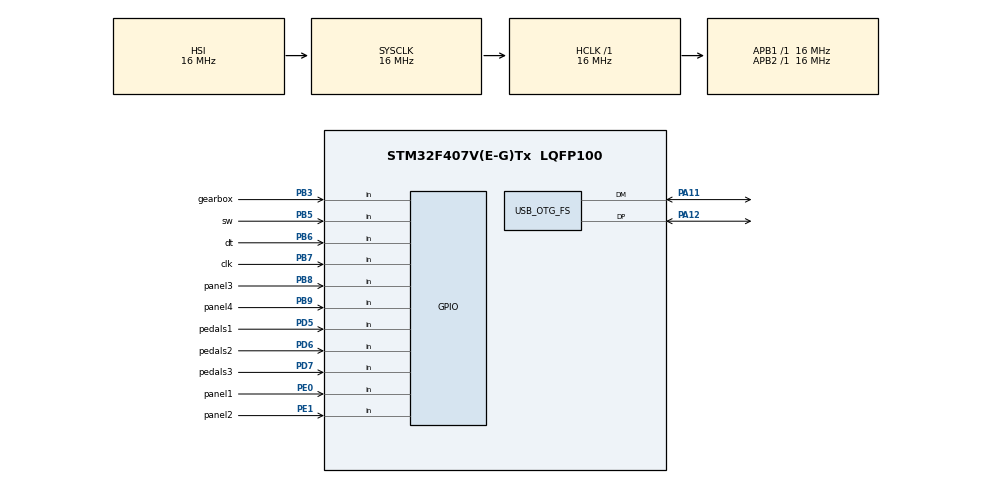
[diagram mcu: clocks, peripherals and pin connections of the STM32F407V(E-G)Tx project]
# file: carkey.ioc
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Mcu.Family=STM32F4
Mcu.Name=STM32F407V(E-G)Tx
Mcu.Package=LQFP100
NVIC.OTG_FS_IRQn=true\:0\:0\:false\:false\:true\:false\:true\:true
NVIC.PriorityGroup=NVIC_PRIORITYGROUP_4
PA11.Mode=Device_Only
PA11.Signal=USB_OTG_FS_DM
PA12.Mode=Device_Only
PA12.Signal=USB_OTG_FS_DP
PB3.GPIO_Label=gearbox
PB3.GPIO_PuPd=GPIO_PULLUP
PB3.Signal=GPIO_Input
PB5.GPIO_Label=sw
PB5.GPIO_PuPd=GPIO_PULLUP
PB5.Signal=GPIO_Input
PB6.GPIO_Label=dt
PB6.GPIO_PuPd=GPIO_PULLUP
PB6.Signal=GPIO_Input
PB7.GPIO_Label=clk
PB7.GPIO_PuPd=GPIO_PULLUP
PB7.Signal=GPIO_Input
PB8.GPIO_Label=panel3
PB8.GPIO_PuPd=GPIO_PULLUP
PB8.Signal=GPIO_Input
PB9.GPIO_Label=panel4
PB9.GPIO_PuPd=GPIO_PULLUP
PB9.Signal=GPIO_Input
PC14-OSC32_IN.Mode=LSE-External-Oscillator
PC14-OSC32_IN.Signal=RCC_OSC32_IN
PC15-OSC32_OUT.Mode=LSE-External-Oscillator
PC15-OSC32_OUT.Signal=RCC_OSC32_OUT
PD5.GPIO_Label=pedals1
PD5.GPIO_PuPd=GPIO_PULLUP
PD5.Signal=GPIO_Input
PD6.GPIO_Label=pedals2
PD6.GPIO_PuPd=GPIO_PULLUP
PD6.Signal=GPIO_Input
PD7.GPIO_Label=pedals3
PD7.GPIO_PuPd=GPIO_PULLUP
PD7.Signal=GPIO_Input
PE0.GPIO_Label=panel1
PE0.GPIO_PuPd=GPIO_PULLUP
PE0.Signal=GPIO_Input
PE1.GPIO_Label=panel2
PE1.GPIO_PuPd=GPIO_PULLUP
PE1.Signal=GPIO_Input
PH0-OSC_IN.Mode=HSE-External-Oscillator
PH0-OSC_IN.Signal=RCC_OSC_IN
PH1-OSC_OUT.Mode=HSE-External-Oscillator
PH1-OSC_OUT.Signal=RCC_OSC_OUT
ProjectManager.HeapSize=0x200
ProjectManager.StackSize=0x400
ProjectManager.TargetToolchain=STM32CubeIDE
RCC.48MHZClocksFreq_Value=48000000
RCC.AHBFreq_Value=16000000
RCC.APB1Freq_Value=16000000
RCC.APB2Freq_Value=16000000
RCC.CortexFreq_Value=16000000
RCC.HSE_VALUE=8000000
RCC.HSI_VALUE=16000000
RCC.PLLM=4
RCC.PLLN=72
RCC.PLLQ=3
RCC.SYSCLKFreq_VALUE=16000000
RCC.VCOOutputFreq_Value=144000000
USB_DEVICE.CLASS_NAME_FS=HID
USB_DEVICE.PRODUCT_STRING_HID_FS=Volan
USB_DEVICE.VirtualMode-HID_FS=Hid
USB_DEVICE.VirtualModeFS=Hid_FS
USB_OTG_FS.VirtualMode=Device_Only
VP_USB_DEVICE_VS_USB_DEVICE_HID_FS.Mode=HID_FS
board=custom

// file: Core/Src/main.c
/* USER CODE BEGIN Header */
/**
  ******************************************************************************
  * @file           : main.c
  * @brief          : Main program body
  ******************************************************************************
  * @attention
  *
  * Copyright (c) 2023 STMicroelectronics.
  * All rights reserved.
  *
  * This software is licensed under terms that can be found in the LICENSE file
  * in the root directory of this software component.
  * If no LICENSE file comes with this software, it is provided AS-IS.
  *
  ******************************************************************************
  */
/* USER CODE END Header */
#include "main.h"
#include "usb_device.h"

/* USER CODE BEGIN PM */

#define bool uint8_t
#define true 1
#define false 0

/* USER CODE END PM */

void SystemClock_Config(void);
static void MX_GPIO_Init(void);

/* USER CODE BEGIN 0 */

extern USBD_HandleTypeDef hUsbDeviceFS;

typedef struct
{
	uint8_t MODIFIER;
	uint8_t RESERVED;
	uint8_t KEYCODE1;
	uint8_t KEYCODE2;
	uint8_t KEYCODE3;
	uint8_t KEYCODE4;
	uint8_t KEYCODE5;
	uint8_t KEYCODE6;
} keyboardHID;

keyboardHID keyboardhid = {0,0,0,0,0,0,0,0};

/* USER CODE END 0 */

int main(void)
{

  /* MCU Configuration--------------------------------------------------------*/

  /* Reset of all peripherals, Initializes the Flash interface and the Systick. */
  HAL_Init();

  /* Configure the system clock */
  SystemClock_Config();

  /* Initialize all configured peripherals */
  MX_GPIO_Init();
  MX_USB_DEVICE_Init();

  /* Infinite loop */
  /* USER CODE BEGIN WHILE */
  // 0x04 = a, 0x05 = b ...
  int aLastState  = HAL_GPIO_ReadPin(GPIOB, GPIO_PIN_7);
  int aState  = 0;
  int oldg = HAL_GPIO_ReadPin(GPIOB, GPIO_PIN_3);
  bool blocked = false;
  bool light = false;
  bool llight = false;
  bool pov = false;
  bool lpov = false;
  bool lr = false;
  bool llr = false;
  bool lav = false;
  bool llav = false;
  while (1){
	  //keyboardhid.KEYCODE1 = 0;
	  keyboardhid.KEYCODE1 = 17;
	  aState  = HAL_GPIO_ReadPin(GPIOB, GPIO_PIN_7);
	  if (aState != aLastState){
	      if (HAL_GPIO_ReadPin(GPIOB, GPIO_PIN_6) != aState) {
	    	  keyboardhid.KEYCODE1 = 4;
	      } else {
	    	  keyboardhid.KEYCODE1 = 7;
	      }
	  }
	  aLastState = aState;
	  if(HAL_GPIO_ReadPin(GPIOD, GPIO_PIN_5) == GPIO_PIN_RESET && HAL_GPIO_ReadPin(GPIOB, GPIO_PIN_3) == GPIO_PIN_RESET ){
		  keyboardhid.KEYCODE1 = 26;
	  }
	  else if(HAL_GPIO_ReadPin(GPIOD, GPIO_PIN_5) == GPIO_PIN_RESET && HAL_GPIO_ReadPin(GPIOB, GPIO_PIN_3) == GPIO_PIN_SET ){
		  keyboardhid.KEYCODE1 = 22;
	  }
	  if(HAL_GPIO_ReadPin(GPIOD, GPIO_PIN_6) == GPIO_PIN_RESET){
		  keyboardhid.KEYCODE1 = 5;
	  }
	  if(oldg != HAL_GPIO_ReadPin(GPIOB, GPIO_PIN_3) && HAL_GPIO_ReadPin(GPIOD, GPIO_PIN_7) == GPIO_PIN_RESET && blocked == 0){
		  oldg = HAL_GPIO_ReadPin(GPIOB, GPIO_PIN_3);
	  }else if(oldg != HAL_GPIO_ReadPin(GPIOB, GPIO_PIN_3) && HAL_GPIO_ReadPin(GPIOD, GPIO_PIN_7) == GPIO_PIN_SET){
		  blocked = 1;
	  }
	  if(blocked){
		  keyboardhid.KEYCODE1 = 17;
	  }
	  light = HAL_GPIO_ReadPin(GPIOE, GPIO_PIN_0);
	  if(llight != light){
		  keyboardhid.KEYCODE1 = 9;
		  llight = light;
	  }
	  pov = HAL_GPIO_ReadPin(GPIOE, GPIO_PIN_1);
	  if(lpov != pov){
		  switch(llr){
		  	case true:
		  		keyboardhid.KEYCODE1 = 20;
		  		break;
		  	case false:
		  		keyboardhid.KEYCODE1 = 8;
		  		break;
		  }
		  lpov = pov;
	  }
	  lr = HAL_GPIO_ReadPin(GPIOB, GPIO_PIN_8);
	  if(llr != lr){
		  if(lpov == false){
			 switch(lr){
			 case true:
			  	  keyboardhid.KEYCODE1 = 20;
			  	  break;
			  case false:
			  	  keyboardhid.KEYCODE1 = 8;
				  break;
			  }
		  }
		  llr = lr;
	  }
	  lav = HAL_GPIO_ReadPin(GPIOB, GPIO_PIN_9);
	  if(llav != lav){
	  	 keyboardhid.KEYCODE1 = 12;
	  	 llav = lav;
	  }
	  USBD_HID_SendReport(&hUsbDeviceFS, &keyboardhid, sizeof (keyboardhid));
	  HAL_Delay(10);
    /* USER CODE END WHILE */

  }
}

void SystemClock_Config(void)
{
  RCC_OscInitTypeDef RCC_OscInitStruct = {0};
  RCC_ClkInitTypeDef RCC_ClkInitStruct = {0};

  /** Configure the main internal regulator output voltage
  */
  __HAL_RCC_PWR_CLK_ENABLE();
  __HAL_PWR_VOLTAGESCALING_CONFIG(PWR_REGULATOR_VOLTAGE_SCALE1);

  /** Initializes the RCC Oscillators according to the specified parameters
  * in the RCC_OscInitTypeDef structure.
  */
  RCC_OscInitStruct.OscillatorType = RCC_OSCILLATORTYPE_HSI|RCC_OSCILLATORTYPE_HSE;
  RCC_OscInitStruct.HSEState = RCC_HSE_ON;
  RCC_OscInitStruct.HSIState = RCC_HSI_ON;
  RCC_OscInitStruct.HSICalibrationValue = RCC_HSICALIBRATION_DEFAULT;
  RCC_OscInitStruct.PLL.PLLState = RCC_PLL_ON;
  RCC_OscInitStruct.PLL.PLLSource = RCC_PLLSOURCE_HSE;
  RCC_OscInitStruct.PLL.PLLM = 4;
  RCC_OscInitStruct.PLL.PLLN = 72;
  RCC_OscInitStruct.PLL.PLLP = RCC_PLLP_DIV2;
  RCC_OscInitStruct.PLL.PLLQ = 3;
  if (HAL_RCC_OscConfig(&RCC_OscInitStruct) != HAL_OK)
  {
    Error_Handler();
  }

  /** Initializes the CPU, AHB and APB buses clocks
  */
  RCC_ClkInitStruct.ClockType = RCC_CLOCKTYPE_HCLK|RCC_CLOCKTYPE_SYSCLK
                              |RCC_CLOCKTYPE_PCLK1|RCC_CLOCKTYPE_PCLK2;
  RCC_ClkInitStruct.SYSCLKSource = RCC_SYSCLKSOURCE_HSI;
  RCC_ClkInitStruct.AHBCLKDivider = RCC_SYSCLK_DIV1;
  RCC_ClkInitStruct.APB1CLKDivider = RCC_HCLK_DIV1;
  RCC_ClkInitStruct.APB2CLKDivider = RCC_HCLK_DIV1;

  if (HAL_RCC_ClockConfig(&RCC_ClkInitStruct, FLASH_LATENCY_0) != HAL_OK)
  {
    Error_Handler();
  }
}

static void MX_GPIO_Init(void)
{
  GPIO_InitTypeDef GPIO_InitStruct = {0};

  /* GPIO Ports Clock Enable */
  __HAL_RCC_GPIOC_CLK_ENABLE();
  __HAL_RCC_GPIOH_CLK_ENABLE();
  __HAL_RCC_GPIOA_CLK_ENABLE();
  __HAL_RCC_GPIOD_CLK_ENABLE();
  __HAL_RCC_GPIOB_CLK_ENABLE();
  __HAL_RCC_GPIOE_CLK_ENABLE();

  /*Configure GPIO pins : pedals1_Pin pedals2_Pin pedals3_Pin */
  GPIO_InitStruct.Pin = pedals1_Pin|pedals2_Pin|pedals3_Pin;
  GPIO_InitStruct.Mode = GPIO_MODE_INPUT;
  GPIO_InitStruct.Pull = GPIO_PULLUP;
  HAL_GPIO_Init(GPIOD, &GPIO_InitStruct);

  /*Configure GPIO pins : gearbox_Pin sw_Pin dt_Pin clk_Pin
                           panel3_Pin panel4_Pin */
  GPIO_InitStruct.Pin = gearbox_Pin|sw_Pin|dt_Pin|clk_Pin
                          |panel3_Pin|panel4_Pin;
  GPIO_InitStruct.Mode = GPIO_MODE_INPUT;
  GPIO_InitStruct.Pull = GPIO_PULLUP;
  HAL_GPIO_Init(GPIOB, &GPIO_InitStruct);

  /*Configure GPIO pins : panel1_Pin panel2_Pin */
  GPIO_InitStruct.Pin = panel1_Pin|panel2_Pin;
  GPIO_InitStruct.Mode = GPIO_MODE_INPUT;
  GPIO_InitStruct.Pull = GPIO_PULLUP;
  HAL_GPIO_Init(GPIOE, &GPIO_InitStruct);

}

void Error_Handler(void)
{
  __disable_irq();
  while (1)
  {
  }
}
